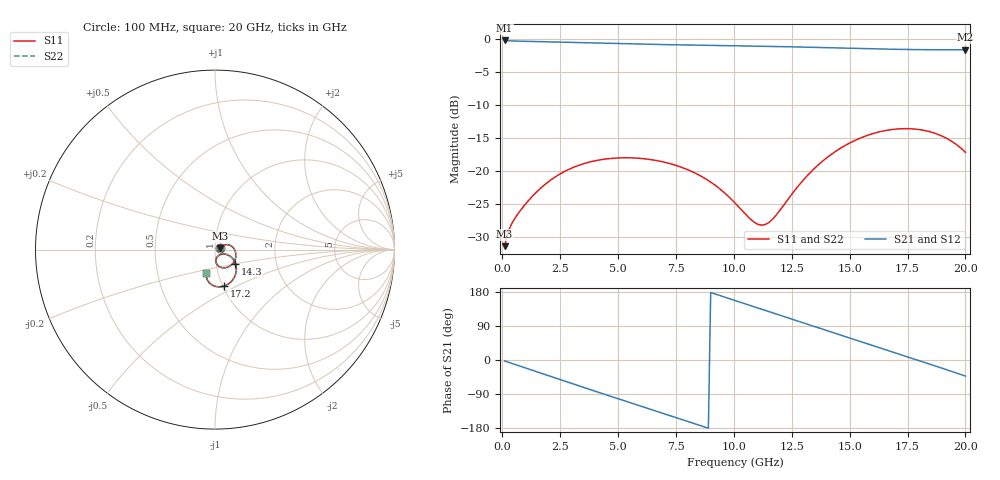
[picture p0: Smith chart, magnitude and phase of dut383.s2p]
! Touchstone file exported from HFSS 2026.1.0
!  File:  C:/ffzhzh/LocalFiles/Ansys_Project_Files/temp_train_TSV_RDL_383_1783089917_35180.aedt
!  Generated:  10:56:25 PM Jul  3, 2026
!  Design:  TSV_RDL
!  Project:  temp_train_TSV_RDL_383_1783089917_35180
! Variables:
!  h_bsmrdl = 4.7um
!  h_ox = 20um
!  h_rdl = 5um
!  h_sub = 56.75um
!  h_tmrdl = 4.78um
!  h_tsv = 56.75um
!  h_via = 3um
!  l_bsmrdl = 841um
!  l_sub = 7051.8um
!  l_tmrdl = 997.58um
!  m_sub = 200um
!  pitch = 30.08um
!  r_tsv = 3.81um
!  s_tmrdl = 10um
!  w_bsmrdl = 20.03um
!  w_sub = 500um
!  w_tmrdl = 26.13um
!  x_tsv_center1 = 1010.645um
!  x_tsv_center2 = 1871.675um
!  x_tsv_center3 = 2895.385um
!  x_tsv_center4 = 3756.415um
!  x_tsv_center5 = 4780.125um
!  x_tsv_center6 = 5641.155um
# GHz S MA R 50.000000
! Terminal data exported
! Port[1] = TM_RDL1_1_T1
! Port[2] = TM_RDL5_1_T1
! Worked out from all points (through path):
!   200 points, 100 MHz to 20 GHz, reference 50 ohm
!   highest |S21| = -0.23 dB at 100 MHz (marker M1); lowest = -1.6 dB at 20 GHz (marker M2)
!   group delay of S21, straight-line fit = 55.6 ps
!   lowest |S11| = -31.3 dB at 100 MHz (marker M3), VSWR 1.06, Z = 52.7 + j0.788 ohm
!   |S11| at or under -10 dB: start of sweep to end of sweep
!   |S22| runs from -31.3 to -13.6 dB; largest |S21 - S12| = 1.6e-14
!   S11 on the Smith chart (normalised r, x): 100 MHz: 1.05, +0.02; 14.3 GHz: 1.24, -0.20; 17.2 GHz: 1.02, -0.43; 20 GHz: 0.88, -0.23
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0.1  0.02708 16.0  0.9743 -2.4  0.9743 -2.4  0.02708 16.0
! Gamma 0 0 0 0
! Port Impedance 50 0 50 0
0.4  0.03982 24.6  0.9662 -8.7  0.9662 -8.7  0.03982 24.6
1.3  0.06458 24.9  0.9578 -27.2  0.9578 -27.2  0.06458 24.9
2.4  0.09313 12.3  0.9477 -49.8  0.9477 -49.8  0.09314 12.2
3.5  0.1137 -5.2  0.9365 -72.1  0.9365 -72.1  0.1137 -5.2
4.3  0.1224 -18.4  0.9285 -88.2  0.9285 -88.2  0.1224 -18.4
5.1  0.1261 -31.2  0.9212 -104.2  0.9212 -104.2  0.1261 -31.3
6.8  0.119 -56.7  0.9078 -138.1  0.9078 -138.1  0.119 -56.9
7.7  0.1076 -68.7  0.9017 -156.0  0.9017 -156.0  0.1076 -68.9
8.5  0.09338 -77.9  0.8968 -172.0  0.8968 -172.0  0.0933 -78.1
9.3  0.07573 -84.2  0.892 172.1  0.892 172.1  0.07556 -84.6
10.1  0.05629 -84.2  0.8874 156.1  0.8874 156.1  0.05595 -84.7
10.9  0.04089 -68.3  0.8826 140.1  0.8826 140.1  0.04027 -68.7
11.4  0.03981 -48.4  0.8794 130.1  0.8794 130.1  0.03909 -48.3
12.4  0.06336 -24.0  0.8725 110.0  0.8725 110.0  0.06284 -23.5
13.4  0.1017 -25.3  0.8647 90.0  0.8647 90.0  0.1013 -24.9
14.3  0.1376 -34.3  0.857 72.0  0.857 72.0  0.1373 -34.0
15.6  0.1819 -51.8  0.8455 46.0  0.8455 46.0  0.1818 -51.7
16.7  0.205 -68.2  0.8369 24.2  0.8369 24.2  0.2049 -68.1
17.2  0.2093 -75.7  0.8338 14.2  0.8338 14.2  0.2092 -75.6
18.6  0.1957 -95.9  0.8286 -13.7  0.8286 -13.7  0.1956 -95.9
20  0.1388 -110.1  0.8278 -42.4  0.8278 -42.4  0.1387 -110.2
